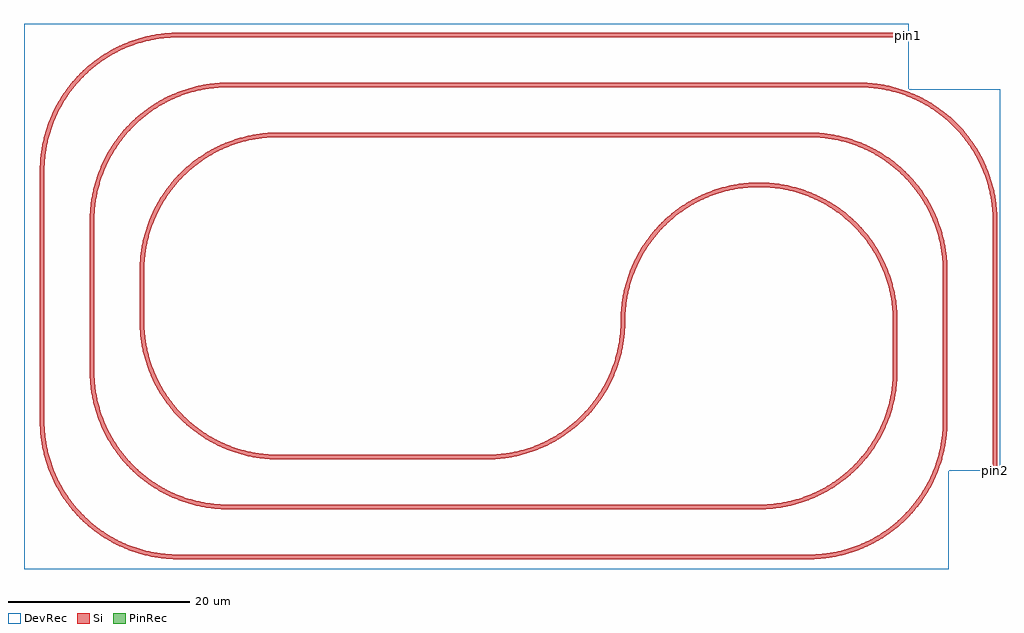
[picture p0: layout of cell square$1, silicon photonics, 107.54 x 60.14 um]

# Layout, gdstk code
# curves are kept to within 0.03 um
import gdstk
lib = gdstk.Library(unit=1e-6, precision=1e-09)
def R(c, l, rs):  # rectangles x0, y0, x1, y1
    for r in rs: c.add(gdstk.rectangle(r[:2], r[2:], *l))
def P(c, l, *ps):  # polygons
    for p in ps: c.add(gdstk.Polygon(p, *l))
Si = (1, 0)
PinRec = (1, 10)
DevRec = (68, 0)

square_1 = lib.new_cell('square$1')
R(square_1, Si, [(38.875,-29,108.375,-28.5), (44.375,-23.5,102.875,-23), (128.625,-19.25,129.125,8.25), (49.875,-18,72.875,-17.5), (23.625,-13.75,24.125,13.75), (123.125,-13.75,123.625,2.75), (29.125,-8.25,29.625,8.25), (117.625,-8.25,118.125,-2.75), (34.625,-2.75,35.125,2.75), (49.875,17.5,108.375,18), (44.375,23,113.875,23.5), (38.875,28.5,119.375,29)])
P(square_1, Si, [(72.875,-18),(72.875,-17.5),(74.488,-17.412),(75.907,-17.185),(77.467,-16.767),(78.973,-16.181),(80.094,-15.613),(81.311,-14.85),(82.31,-14.088),(83.241,-13.243),(84.097,-12.323),(84.975,-11.186),(85.738,-9.969),(86.306,-8.848),(86.892,-7.342),(87.31,-5.782),(87.537,-4.363),(87.625,-2.75),(88.125,-2.75),(88.053,-4.233),(87.836,-5.702),(87.478,-7.144),(86.982,-8.543),(86.352,-9.888),(85.593,-11.164),(84.715,-12.362),(83.724,-13.468),(82.63,-14.472),(81.444,-15.365),(80.013,-16.227),(78.668,-16.857),(77.269,-17.353),(75.827,-17.711),(74.358,-17.928)],
  [(87.625,-2.75),(87.697,-1.267),(87.914,0.202),(88.272,1.644),(88.768,3.043),(89.398,4.388),(90.157,5.664),(91.035,6.862),(92.026,7.968),(93.12,8.972),(94.306,9.865),(95.737,10.727),(97.082,11.357),(98.481,11.853),(99.923,12.211),(101.392,12.428),(102.875,12.5),(102.875,12),(101.262,11.912),(99.843,11.685),(98.283,11.267),(96.777,10.681),(95.656,10.113),(94.439,9.35),(93.44,8.588),(92.509,7.743),(91.653,6.823),(90.775,5.686),(90.012,4.469),(89.444,3.348),(88.858,1.842),(88.44,0.282),(88.213,-1.137),(88.125,-2.75)],
  [(34.625,2.75),(34.697,4.233),(34.914,5.702),(35.272,7.144),(35.768,8.543),(36.398,9.888),(37.157,11.164),(38.035,12.362),(39.026,13.468),(40.12,14.472),(41.306,15.365),(42.737,16.227),(44.082,16.857),(45.481,17.353),(46.923,17.711),(48.392,17.928),(49.875,18),(49.875,17.5),(48.262,17.412),(46.843,17.185),(45.283,16.767),(43.777,16.181),(42.656,15.613),(41.439,14.85),(40.44,14.088),(39.509,13.243),(38.653,12.323),(37.775,11.186),(37.012,9.969),(36.444,8.848),(35.858,7.342),(35.44,5.782),(35.213,4.363),(35.125,2.75)],
  [(29.125,8.25),(29.197,9.733),(29.414,11.202),(29.772,12.644),(30.268,14.043),(30.898,15.388),(31.657,16.664),(32.535,17.862),(33.526,18.968),(34.62,19.972),(35.806,20.865),(37.237,21.727),(38.582,22.357),(39.981,22.853),(41.423,23.211),(42.892,23.428),(44.375,23.5),(44.375,23),(42.762,22.912),(41.343,22.685),(39.783,22.267),(38.277,21.681),(37.156,21.113),(35.939,20.35),(34.94,19.588),(34.009,18.743),(33.153,17.823),(32.275,16.686),(31.512,15.469),(30.944,14.348),(30.358,12.842),(29.94,11.282),(29.713,9.863),(29.625,8.25)],
  [(23.625,13.75),(23.697,15.233),(23.914,16.702),(24.272,18.144),(24.768,19.543),(25.398,20.888),(26.157,22.164),(27.035,23.362),(28.026,24.468),(29.12,25.472),(30.306,26.365),(31.737,27.227),(33.082,27.857),(34.481,28.353),(35.923,28.711),(37.392,28.928),(38.875,29),(38.875,28.5),(37.262,28.412),(35.843,28.185),(34.283,27.767),(32.777,27.181),(31.656,26.613),(30.439,25.85),(29.44,25.088),(28.509,24.243),(27.653,23.323),(26.775,22.186),(26.012,20.969),(25.444,19.848),(24.858,18.342),(24.44,16.782),(24.213,15.363),(24.125,13.75)],
  [(49.875,-18),(48.392,-17.928),(46.923,-17.711),(45.481,-17.353),(44.082,-16.857),(42.737,-16.227),(41.461,-15.468),(40.263,-14.59),(39.157,-13.599),(38.153,-12.505),(37.26,-11.319),(36.398,-9.888),(35.768,-8.543),(35.272,-7.144),(34.914,-5.702),(34.697,-4.233),(34.625,-2.75),(35.125,-2.75),(35.213,-4.363),(35.44,-5.782),(35.858,-7.342),(36.444,-8.848),(37.012,-9.969),(37.775,-11.186),(38.537,-12.185),(39.382,-13.116),(40.302,-13.972),(41.439,-14.85),(42.656,-15.613),(43.777,-16.181),(45.283,-16.767),(46.843,-17.185),(48.262,-17.412),(49.875,-17.5)],
  [(44.375,-23.5),(42.892,-23.428),(41.423,-23.211),(39.981,-22.853),(38.582,-22.357),(37.237,-21.727),(35.961,-20.968),(34.763,-20.09),(33.657,-19.099),(32.653,-18.005),(31.76,-16.819),(30.898,-15.388),(30.268,-14.043),(29.772,-12.644),(29.414,-11.202),(29.197,-9.733),(29.125,-8.25),(29.625,-8.25),(29.713,-9.863),(29.94,-11.282),(30.358,-12.842),(30.944,-14.348),(31.512,-15.469),(32.275,-16.686),(33.037,-17.685),(33.882,-18.616),(34.802,-19.472),(35.939,-20.35),(37.156,-21.113),(38.277,-21.681),(39.783,-22.267),(41.343,-22.685),(42.762,-22.912),(44.375,-23)],
  [(38.875,-29),(37.392,-28.928),(35.923,-28.711),(34.481,-28.353),(33.082,-27.857),(31.737,-27.227),(30.461,-26.468),(29.263,-25.59),(28.157,-24.599),(27.153,-23.505),(26.26,-22.319),(25.398,-20.888),(24.768,-19.543),(24.272,-18.144),(23.914,-16.702),(23.697,-15.233),(23.625,-13.75),(24.125,-13.75),(24.213,-15.363),(24.44,-16.782),(24.858,-18.342),(25.444,-19.848),(26.012,-20.969),(26.775,-22.186),(27.537,-23.185),(28.382,-24.116),(29.302,-24.972),(30.439,-25.85),(31.656,-26.613),(32.777,-27.181),(34.283,-27.767),(35.843,-28.185),(37.262,-28.412),(38.875,-28.5)],
  [(102.875,-23.5),(102.875,-23),(104.488,-22.912),(105.907,-22.685),(107.467,-22.267),(108.973,-21.681),(110.094,-21.113),(111.311,-20.35),(112.31,-19.588),(113.241,-18.743),(114.097,-17.823),(114.975,-16.686),(115.738,-15.469),(116.306,-14.348),(116.892,-12.842),(117.31,-11.282),(117.537,-9.863),(117.625,-8.25),(118.125,-8.25),(118.053,-9.733),(117.836,-11.202),(117.478,-12.644),(116.982,-14.043),(116.352,-15.388),(115.593,-16.664),(114.715,-17.862),(113.724,-18.968),(112.63,-19.972),(111.444,-20.865),(110.013,-21.727),(108.668,-22.357),(107.269,-22.853),(105.827,-23.211),(104.358,-23.428)],
  [(108.375,-29),(108.375,-28.5),(109.988,-28.412),(111.407,-28.185),(112.967,-27.767),(114.473,-27.181),(115.594,-26.613),(116.811,-25.85),(117.81,-25.088),(118.741,-24.243),(119.597,-23.323),(120.475,-22.186),(121.238,-20.969),(121.806,-19.848),(122.392,-18.342),(122.81,-16.782),(123.037,-15.363),(123.125,-13.75),(123.625,-13.75),(123.553,-15.233),(123.336,-16.702),(122.978,-18.144),(122.482,-19.543),(121.852,-20.888),(121.093,-22.164),(120.215,-23.362),(119.224,-24.468),(118.13,-25.472),(116.944,-26.365),(115.513,-27.227),(114.168,-27.857),(112.769,-28.353),(111.327,-28.711),(109.858,-28.928)],
  [(117.625,-2.75),(117.555,-1.315),(117.38,-0.071),(117.05,1.327),(116.587,2.687),(115.993,3.994),(115.275,5.238),(114.439,6.406),(113.494,7.488),(112.448,8.472),(111.457,9.246),(110.25,10.024),(109.136,10.605),(107.637,11.21),(106.082,11.647),(104.488,11.912),(102.875,12),(102.875,12.5),(104.543,12.409),(106.009,12.174),(107.446,11.799),(108.839,11.285),(110.339,10.549),(111.597,9.76),(112.772,8.852),(113.854,7.835),(114.831,6.717),(115.795,5.352),(116.603,3.891),(117.247,2.349),(117.531,1.465),(117.799,0.384),(117.988,-0.713),(118.084,-1.637),(118.125,-2.75)],
  [(123.125,2.75),(123.055,4.185),(122.88,5.429),(122.55,6.827),(122.087,8.187),(121.493,9.494),(120.775,10.738),(119.939,11.906),(118.994,12.988),(117.948,13.972),(116.957,14.746),(115.75,15.524),(114.636,16.105),(113.137,16.71),(111.582,17.147),(109.988,17.412),(108.375,17.5),(108.375,18),(110.043,17.909),(111.509,17.674),(112.946,17.299),(114.339,16.785),(115.839,16.049),(117.097,15.26),(118.272,14.352),(119.354,13.335),(120.331,12.217),(121.295,10.852),(122.103,9.391),(122.747,7.849),(123.031,6.965),(123.299,5.884),(123.488,4.787),(123.584,3.863),(123.625,2.75)],
  [(128.625,8.25),(128.555,9.685),(128.38,10.929),(128.05,12.327),(127.587,13.687),(126.993,14.994),(126.275,16.238),(125.439,17.406),(124.494,18.488),(123.448,19.472),(122.457,20.246),(121.25,21.024),(120.136,21.605),(118.637,22.21),(117.082,22.647),(115.488,22.912),(113.875,23),(113.875,23.5),(115.543,23.409),(117.009,23.174),(118.446,22.799),(119.839,22.285),(121.339,21.549),(122.597,20.76),(123.772,19.852),(124.854,18.835),(125.831,17.717),(126.795,16.352),(127.603,14.891),(128.247,13.349),(128.531,12.465),(128.799,11.384),(128.988,10.287),(129.084,9.363),(129.125,8.25)])
P(square_1, DevRec, [(21.88,-30.13),(21.88,30.01),(119.37,30.01),(119.37,28.75),(119.375,28.75),(119.375,22.77),(129.42,22.77),(129.42,-19.25),(123.78,-19.25),(123.78,-30.13)])
square_1.add(gdstk.FlexPath([(119.325,28.75),(119.425,28.75)], 0.5, ends="flush", simple_path=True, layer=1, datatype=10))  # PinRec
square_1.add(gdstk.FlexPath([(128.875,-19.2),(128.875,-19.3)], 0.5, ends="flush", simple_path=True, layer=1, datatype=10))  # PinRec
square_1.add(gdstk.Label('pin1', (119.375,28.75), layer=1, texttype=10))
square_1.add(gdstk.Label('pin2', (128.875,-19.25), layer=1, texttype=10))

lib.write_gds('square_1.gds')
